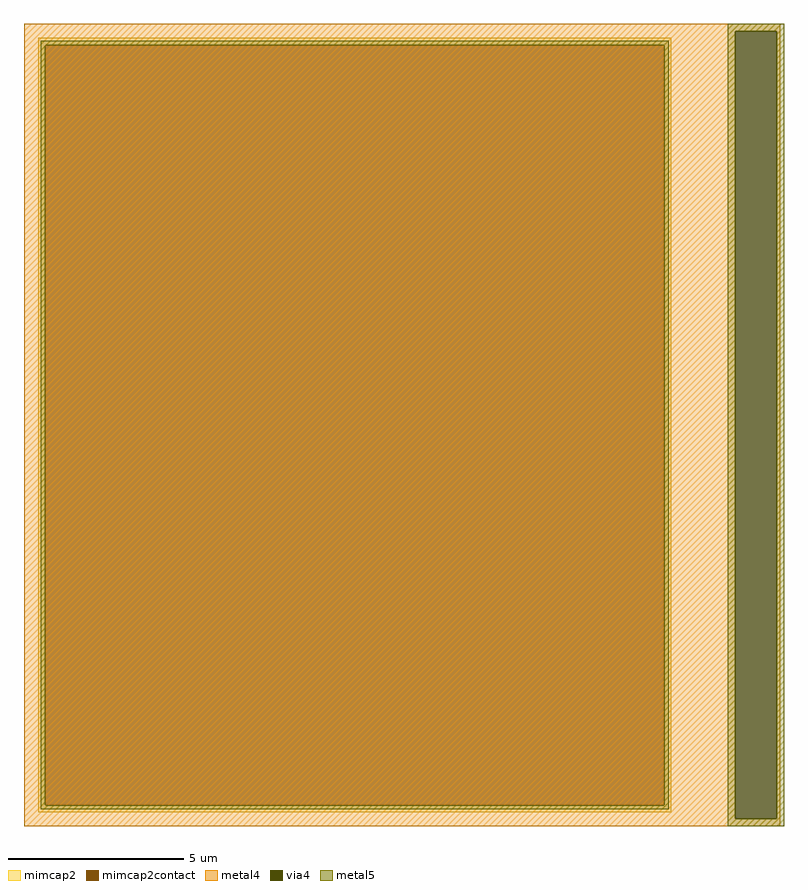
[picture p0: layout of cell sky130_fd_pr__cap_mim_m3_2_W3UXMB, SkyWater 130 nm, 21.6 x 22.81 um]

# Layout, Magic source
magic
tech sky130A
magscale 1 2
<< metal4 >>
rect -2149 2239 2149 2280
rect -2149 -2239 1893 2239
rect 2129 -2239 2149 2239
rect -2149 -2280 2149 -2239
<< via4 >>
rect 1893 -2239 2129 2239
<< mimcap2 >>
rect -2069 2160 1531 2200
rect -2069 -2160 -2029 2160
rect 1491 -2160 1531 2160
rect -2069 -2200 1531 -2160
<< mimcap2contact >>
rect -2029 -2160 1491 2160
<< metal5 >>
rect 1851 2239 2171 2281
rect -2053 2160 1515 2184
rect -2053 -2160 -2029 2160
rect 1491 -2160 1515 2160
rect -2053 -2184 1515 -2160
rect 1851 -2239 1893 2239
rect 2129 -2239 2171 2239
rect 1851 -2281 2171 -2239
<< properties >>
string FIXED_BBOX -2149 -2280 1611 2280
string gencell sky130_fd_pr__cap_mim_m3_2
string library sky130
string parameters w 18 l 22 val 807.2 carea 2.00 cperi 0.19 nx 1 ny 1 dummy 0 square 0 lmin 2.00 wmin 2.00 lmax 30.0 wmax 30.0 dc 0 bconnect 1 tconnect 1 ccov 100
<< end >>
